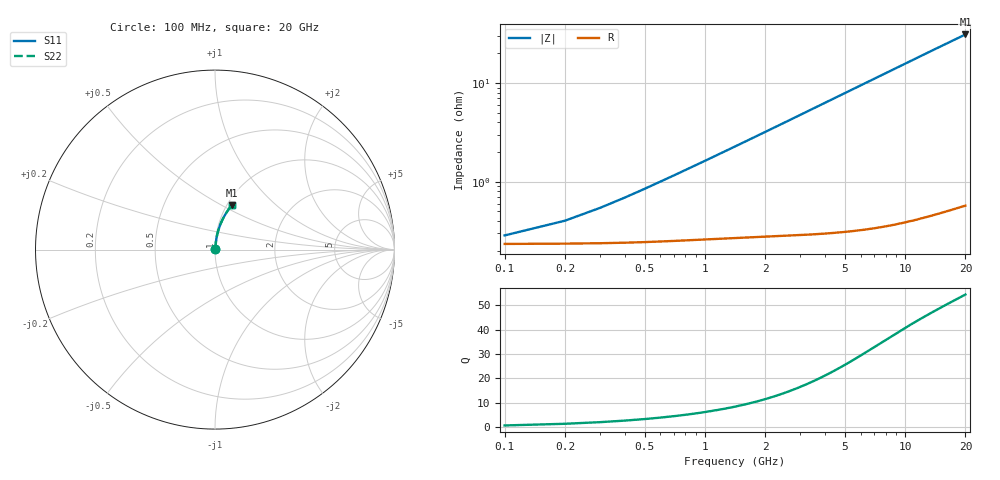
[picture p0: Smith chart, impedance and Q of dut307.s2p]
! Touchstone file exported from HFSS 2026.1.0
!  File:  C:/ffzhzh/LocalFiles/Ansys_Project_Files/temp_train_TMRDL_307_1783003219_46388.aedt
!  Generated:  10:41:41 PM Jul  2, 2026
!  Design:  TMRDL
!  Project:  temp_train_TMRDL_307_1783003219_46388
! Variables:
!  h_bsmrdl = 2um
!  h_ox = 20um
!  h_rdl = 5um
!  h_sub = 80um
!  h_tmrdl = 2.35um
!  h_tsv = 80um
!  h_via = 3um
!  l_bsmrdl = 300um
!  l_sub = 574.41um
!  l_tmrdl = 174.41um
!  m_sub = 200um
!  pitch = 58.4um
!  r_tsv = 6um
!  s_tmrdl = 10um
!  w_bsmrdl = 18um
!  w_sub = 500um
!  w_tmrdl = 12.64um
!  x_tsv_center1 = 180.73um
!  x_tsv_center2 = 498.73um
!  x_tsv_center3 = 685.78um
!  x_tsv_center4 = 1003.78um
!  x_tsv_center5 = 1190.83um
!  x_tsv_center6 = 1508.83um
# GHz S MA R 50.000000
! Terminal data exported
! Port[1] = TM_RDL1_1_T1
! Port[2] = TM_RDL1_1_T2
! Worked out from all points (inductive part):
!   200 points, 100 MHz to 20 GHz, reference 50 ohm
!   read as one part in series: L = 257 pH near 500 MHz
!   highest Q = 54.4 at 20 GHz (marker M1), where L = 248 pH
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0.1  0.002748 31.6  0.9977 -0.1  0.9977 -0.1  0.002748 31.6
! Gamma 0 0 0 0
! Port Impedance 50 0 50 0
0.2  0.003725 50.6  0.9976 -0.2  0.9976 -0.2  0.003725 50.6
0.3  0.004934 60.9  0.9976 -0.3  0.9976 -0.3  0.004934 60.9
0.4  0.006236 66.9  0.9976 -0.4  0.9976 -0.4  0.006236 66.9
0.5  0.007577 70.7  0.9975 -0.5  0.9975 -0.5  0.007577 70.7
0.6  0.008937 73.3  0.9975 -0.6  0.9975 -0.6  0.008937 73.3
0.8  0.01168 76.6  0.9974 -0.8  0.9974 -0.8  0.01168 76.6
1.1  0.0158 79.3  0.9973 -1.1  0.9973 -1.1  0.0158 79.3
1.5  0.02131 81.2  0.9971 -1.5  0.9971 -1.5  0.02131 81.2
1.8  0.02545 82.0  0.9969 -1.8  0.9969 -1.8  0.02545 82.0
2.1  0.02959 82.5  0.9968 -2.1  0.9968 -2.1  0.02959 82.5
2.7  0.03788 83.0  0.9964 -2.7  0.9964 -2.7  0.03788 83.0
3.5  0.04895 83.0  0.9959 -3.5  0.9959 -3.5  0.04895 83.0
4.2  0.05861 82.8  0.9953 -4.2  0.9953 -4.2  0.05861 82.8
5  0.06963 82.4  0.9945 -5.1  0.9945 -5.1  0.06963 82.4
5.9  0.08198 81.8  0.9934 -6.0  0.9934 -6.0  0.08198 81.8
6.8  0.09428 81.1  0.9922 -6.9  0.9922 -6.9  0.09428 81.1
8.3  0.1146 79.9  0.9899 -8.3  0.9899 -8.3  0.1146 79.9
10.1  0.1387 78.3  0.9865 -10.1  0.9865 -10.1  0.1387 78.3
13.4  0.1819 75.3  0.9789 -13.3  0.9789 -13.3  0.1819 75.3
16.7  0.2237 72.2  0.9697 -16.5  0.9697 -16.5  0.2237 72.2
20  0.2637 69.2  0.9591 -19.6  0.9591 -19.6  0.2637 69.2
